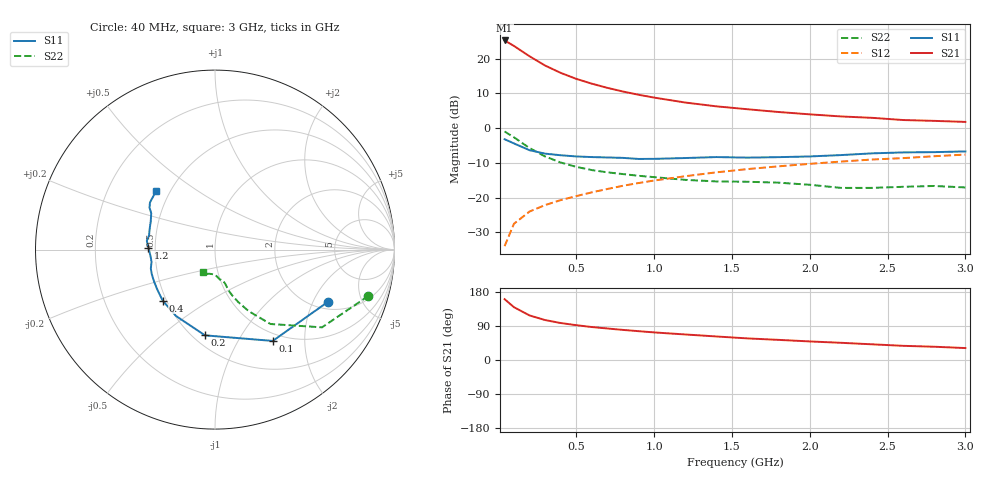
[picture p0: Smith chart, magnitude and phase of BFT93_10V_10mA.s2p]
! Filename:  BFT93F.S2P  Version:  2.0
! Philips part #: BFT93  Date: May 1990
! Bias condition: Vce=-10V, Ic=-10mA
#  MHz  S  MA  R  50
! Freq  S11  S21  S12  S22  !GUM [dB]
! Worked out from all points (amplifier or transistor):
!   21 points, 40 MHz to 3 GHz, reference 50 ohm
!   highest |S21| = 25.2 dB at 40 MHz (marker M1)
!   |S21| within 3 dB of that: start of sweep to 147.9 MHz
!   unconditionally stable (mu >= 1): 815.9 MHz to 2.737 GHz
!   at 300 MHz: K = 0.71, MSG = 20.1 dB, |S12| = -22.2 dB
!   at 1 GHz: K = 1.04, MAG = 10.7 dB, |S12| = -15.1 dB
!   at 3 GHz: K = 0.98, MSG = 4.7 dB, |S12| = -7.6 dB
!   S11 on the Smith chart (normalised r, x): 40 MHz: 2.32, -2.60; 100 MHz: 0.89, -1.42; 200 MHz: 0.57, -0.71; 400 MHz: 0.48, -0.32; 1.2 GHz: 0.46, +0.01; 3 GHz: 0.42, +0.35
40  0.692 -25.0  18.25 160.5  0.02 77.8  0.893 -16.8
100  0.602 -57.7  15.22 139.4  0.042 65.0  0.737 -36.0
200  0.481 -96.7  10.81 117.6  0.063 57.3  0.517 -53.3
300  0.429 -120.4  7.953 105.4  0.078 56.5  0.391 -61.3
400  0.407 -135.8  6.238 97.6  0.092 57.5  0.32 -66.1
500  0.391 -145.3  5.115 91.9  0.105 58.6  0.277 -69.1
600  0.383 -152.7  4.361 87.0  0.119 59.6  0.249 -71.0
700  0.378 -158.6  3.796 83.2  0.133 60.2  0.231 -72.1
800  0.373 -163.5  3.36 79.4  0.148 60.7  0.218 -72.5
900  0.36 -169.2  3.022 76.1  0.162 60.9  0.206 -73.0
1000  0.361 -174.0  2.749 72.8  0.176 60.8  0.197 -73.5
1200  0.371 178.4  2.334 67.4  0.203 60.5  0.18 -75.5
1400  0.383 172.7  2.058 62.1  0.231 59.5  0.171 -79.0
1600  0.376 167.9  1.868 57.0  0.257 58.3  0.169 -80.7
1800  0.382 162.3  1.705 53.1  0.282 57.3  0.164 -82.2
2000  0.391 156.3  1.578 49.0  0.306 56.1  0.153 -84.8
2200  0.409 150.3  1.472 45.4  0.33 55.0  0.138 -91.5
2400  0.433 147.4  1.406 41.4  0.353 53.4  0.138 -102.0
2600  0.447 144.2  1.307 37.4  0.37 52.2  0.143 -109.2
2800  0.451 141.5  1.271 35.0  0.394 51.1  0.147 -113.1
3000  0.462 135.1  1.228 31.5  0.416 49.8  0.14 -118.7
